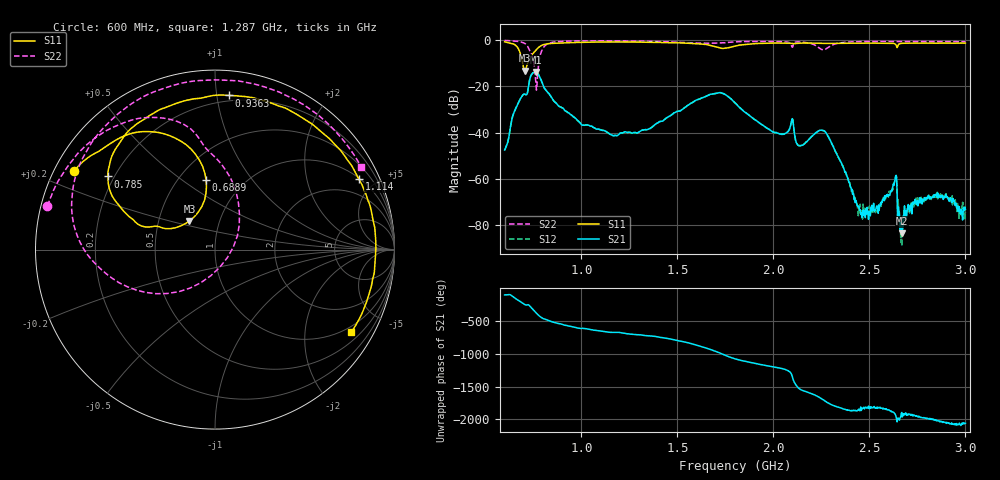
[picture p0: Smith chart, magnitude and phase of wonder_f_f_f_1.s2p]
#  HZ  S  RI  R  50.00
! Rohde & Schwarz ZVB8 2Ports - Version 2.81 - 1145.1010k08 SN: 100113
! Date: 2016-05-12 03:17:05
! Measurements: S11 S21 S12 S22
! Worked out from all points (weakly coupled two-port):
!   1000 points, 600 MHz to 3 GHz, reference 50 ohm
!   highest |S21| = -13.91 dB at 761 MHz (marker M1); lowest = -83.5 dB at 2.668 GHz (marker M2)
!   lowest |S11| = -13.4 dB at 705.7 MHz (marker M3), VSWR 1.54, Z = 35.8 + j12 ohm
!   |S11| at or under -10 dB: 693.8 MHz to 719.9 MHz (26.13 MHz wide, 3.7 % of centre)
!   |S22| runs from -21.7 to -0.3 dB; largest |S21 - S12| = 0.002
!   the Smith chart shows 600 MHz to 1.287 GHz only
!   S11 on the Smith chart (normalised r, x): 600 MHz: 0.06, +0.26; 688.9 MHz: 0.68, +0.62; 785 MHz: 0.18, +0.30; 936.3 MHz: 0.16, +1.08; 1.114 GHz: 1.05, +4.06; 1.287 GHz: 0.78, -3.41
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6e8  -0.7863 0.4385  -0.00141 -0.00397  -0.00143 -0.00389  -0.9335 0.2425
6.888889e8  -0.0495 0.3883  -0.0426 0.0414  -0.0429 0.041  -0.5597 0.6852
7.057057e8  -0.1426 0.1594  -0.0155 0.0649  -0.015 0.0651  -0.3803 0.7356
7.60961e8  -0.5291 0.2395  0.1966 -0.0444  0.195 -0.0453  0.1248 0.0773
7.84985e8  -0.5969 0.4074  0.0312 -0.1476  0.0301 -0.1467  -0.3874 -0.2385
8.282282e8  -0.4529 0.6865  -0.0518 -0.0484  -0.0518 -0.0485  -0.799 0.2385
9.363363e8  0.0758 0.8592  -0.0191 0.0176  -0.0191 0.0174  -0.4634 0.814
1.001201e9  0.3896 0.7894  -0.00313 0.0142  -0.00312 0.0143  -0.1886 0.9272
1.114114e9  0.8013 0.3927  0.00614 0.00939  0.00604 0.00937  0.2865 0.9031
1.287087e9  0.76 -0.4607  0.00977 0.00116  0.00984 0.00119  0.8138 0.4607
1.4e9  0.3442 -0.8042  0.0146 -0.00754  0.0146 -0.00751  0.9174 0.0358
1.678679e9  -0.6365 -0.3856  -0.0476 0.0476  -0.0476 0.0477  0.4699 -0.6988
1.801201e9  -0.7055 -0.1975  0.0433 -0.000113  0.0434 -4.97e-05  0.1797 -0.8812
1.976577e9  -0.7232 0.4404  -0.00397 -0.0111  -0.00395 -0.0112  -0.3654 -0.8383
2.2e9  0.0207 0.8448  -0.00812 -0.00157  -0.00812 -0.00155  -0.7471 -0.3287
2.279279e9  0.3292 0.764  0.00453 0.0079  0.00454 0.0079  -0.5556 -0.3492
2.452252e9  0.8017 0.2544  0.000104 -0.000192  0.000139 -0.000251  -0.9087 -0.0609
2.601201e9  0.7477 -0.3885  0.000253 -0.00039  0.000253 -0.000381  -0.8683 0.2972
2.632432e9  0.6329 -0.5157  -0.000337 -0.00083  -0.000377 -0.000826  -0.8451 0.3653
2.668468e9  0.6081 -0.5743  -3.89e-06 -6.7e-05  -2.7e-05 -2.35e-05  -0.8072 0.4358
2.858258e9  -0.0959 -0.8392  -0.000302 0.000264  -0.000334 0.000341  -0.5067 0.7617
3e9  -0.5538 -0.6387  -5.1e-05 0.000216  -7.11e-05 0.000174  -0.1823 0.8846
